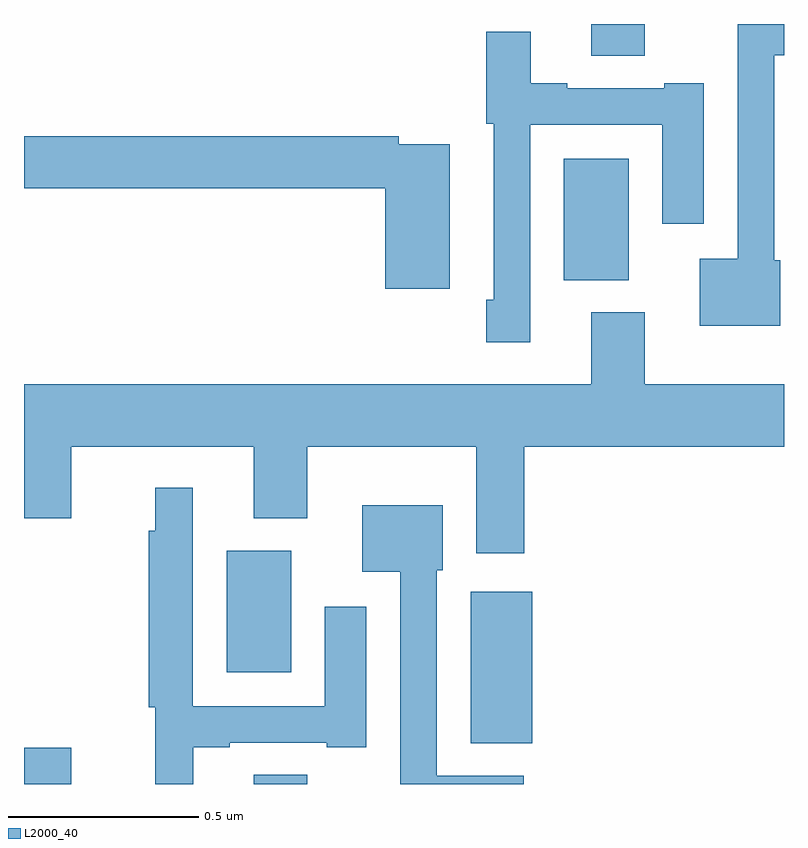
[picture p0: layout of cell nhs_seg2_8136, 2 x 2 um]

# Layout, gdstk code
import gdstk
lib = gdstk.Library(unit=1e-6, precision=1e-09)
def R(c, l, rs):  # rectangles x0, y0, x1, y1
    for r in rs: c.add(gdstk.rectangle(r[:2], r[2:], *l))
def P(c, l, *ps):  # polygons
    for p in ps: c.add(gdstk.Polygon(p, *l))
L2000_40 = (2000, 40)

nhs_seg2_8136 = lib.new_cell('nhs_seg2_8136')
R(nhs_seg2_8136, L2000_40, [(213,594.8,213.124,594.895), (213.605,594.8,213.745,594.824), (214.175,594.907,214.337,595.306), (213.533,595.094,213.703,595.414), (214.421,596.126,214.591,596.446), (214.493,596.716,214.633,596.8)])
P(nhs_seg2_8136, L2000_40, [(214.99,596.178),(214.974,596.178),(214.974,596.718),(215,596.718),(215,596.8),(214.878,596.8),(214.878,596.182),(214.778,596.182),(214.778,596.006),(214.99,596.006)],
  [(214.332,596.535),(214.679,596.535),(214.679,596.274),(214.789,596.274),(214.789,596.644),(214.685,596.644),(214.685,596.631),(214.429,596.631),(214.429,596.644),(214.333,596.644),(214.333,596.779),(214.216,596.779),(214.216,596.538),(214.236,596.538),(214.236,596.074),(214.216,596.074),(214.216,595.962),(214.332,595.962)],
  [(214.12,596.484),(213.986,596.484),(213.986,596.504),(213,596.504),(213,596.368),(213.95,596.368),(213.95,596.103),(214.12,596.103)],
  [(214.316,595.688),(215,595.688),(215,595.852),(214.633,595.852),(214.633,596.041),(214.493,596.041),(214.493,595.852),(213,595.852),(213,595.5),(213.124,595.5),(213.124,595.688),(213.605,595.688),(213.605,595.499),(213.745,595.499),(213.745,595.688),(214.19,595.688),(214.19,595.407),(214.316,595.407)],
  [(213.445,594.897),(213.541,594.897),(213.541,594.909),(213.797,594.909),(213.797,594.897),(213.901,594.897),(213.901,595.267),(213.791,595.267),(213.791,595.005),(213.444,595.005),(213.444,595.579),(213.346,595.579),(213.346,595.466),(213.328,595.466),(213.328,595.002),(213.346,595.002),(213.346,594.8),(213.445,594.8)],
  [(214.315,594.822),(214.086,594.822),(214.086,595.362),(214.102,595.362),(214.102,595.534),(213.89,595.534),(213.89,595.358),(213.99,595.358),(213.99,594.8),(214.315,594.8)])

lib.write_gds('nhs_seg2_8136.gds')
